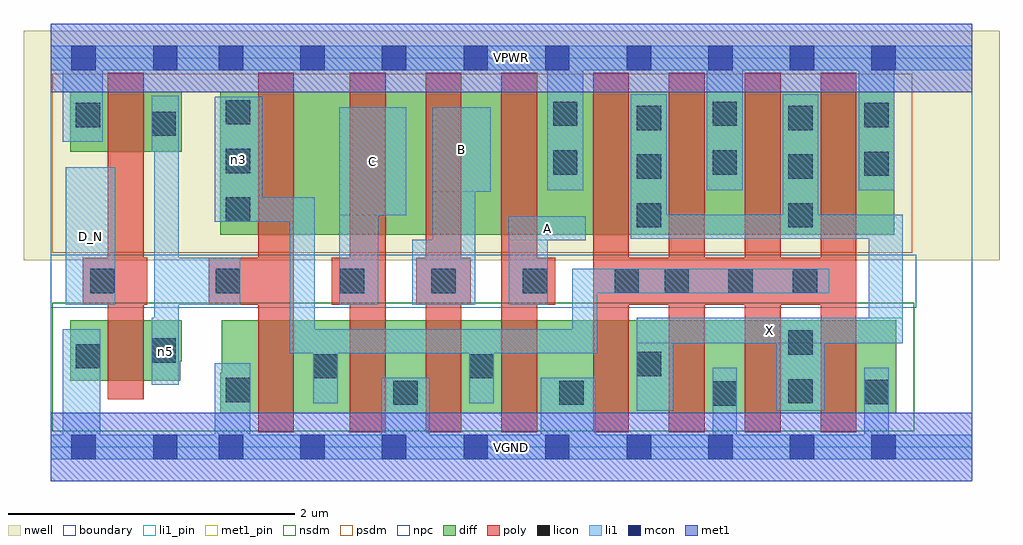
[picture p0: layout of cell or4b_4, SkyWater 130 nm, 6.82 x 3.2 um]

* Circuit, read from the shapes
.subckt or4b_4 A B C D_N VGND VPWR X n3 n5
XM1 n5 D_N VGND VSUBS sky130_fd_pr__nfet_01v8 w=0.42 l=0.25
XM2 n3 n5 VGND VSUBS sky130_fd_pr__nfet_01v8 w=0.65 l=0.25
XM3 VGND C n3 VSUBS sky130_fd_pr__nfet_01v8 w=0.65 l=0.25
XM4 n3 B VGND VSUBS sky130_fd_pr__nfet_01v8 w=0.65 l=0.25
XM5 VGND A n3 VSUBS sky130_fd_pr__nfet_01v8 w=0.65 l=0.25
XM6 X n3 VGND VSUBS sky130_fd_pr__nfet_01v8 w=0.65 l=0.25 m=4
XM7 n5 D_N VPWR n1 sky130_fd_pr__pfet_01v8 w=0.42 l=0.25
XM8 n2 n5 n3 n1 sky130_fd_pr__pfet_01v8 w=1 l=0.25
XM9 n4 C n2 n1 sky130_fd_pr__pfet_01v8 w=1 l=0.25
XM10 n6 B n4 n1 sky130_fd_pr__pfet_01v8 w=1 l=0.25
XM11 VPWR A n6 n1 sky130_fd_pr__pfet_01v8 w=1 l=0.25
XM12 X n3 VPWR n1 sky130_fd_pr__pfet_01v8 w=1 l=0.25 m=4
.ends

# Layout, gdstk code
import gdstk
lib = gdstk.Library(unit=1e-6, precision=1e-09)
def R(c, l, rs):  # rectangles x0, y0, x1, y1
    for r in rs: c.add(gdstk.rectangle(r[:2], r[2:], *l))
def A(c, l, x, y, w, h, nx, ny, dx, dy):  # array of equal rectangles
    R(c, l, [(x+i*dx, y+j*dy, x+i*dx+w, y+j*dy+h) for i in range(nx) for j in range(ny)])
nwell = (64, 20)
diff = (65, 20)
poly = (66, 20)
licon = (66, 44)
li1_pin = (67, 16)
li1 = (67, 20)
mcon = (67, 44)
met1_pin = (68, 16)
met1 = (68, 20)
nsdm = (93, 44)
psdm = (94, 20)
npc = (95, 20)
boundary = (235, 4)

or4b_4 = lib.new_cell('or4b_4')
R(or4b_4, nwell, [(-0.19,1.305,6.63,2.91), (0,1.305,6.44,2.91)])
R(or4b_4, diff, [(1.185,0.235,5.91,0.52), (1.195,0.235,5.91,0.885), (0.135,0.465,0.905,0.885), (0.135,0.6,0.915,0.885), (1.185,1.485,5.895,2.485), (0.135,2.065,0.915,2.485)])
A(or4b_4, poly, 2.09, 0.105, 0.25, 2.51, 3, 1, 0.53, 0)
A(or4b_4, poly, 3.79, 0.105, 0.25, 2.51, 4, 1, 0.53, 0)
R(or4b_4, poly, [(1.45,0.105,1.7,2.615), (0.4,0.335,0.65,2.615), (0.225,0.995,0.675,1.325), (1.105,0.995,1.7,1.325), (1.965,0.995,2.34,1.325), (2.555,0.995,2.935,1.325), (3.15,0.995,3.525,1.325), (3.79,0.995,5.63,1.325)])
A(or4b_4, licon, 2.02, 1.075, 0.17, 0.17, 4, 1, 0.64, 0)
A(or4b_4, licon, 4.095, 1.535, 0.17, 0.17, 1, 3, 0, 0.34)
A(or4b_4, licon, 5.155, 1.535, 0.17, 0.17, 1, 3, 0, 0.34)
A(or4b_4, licon, 1.225, 1.575, 0.17, 0.17, 1, 3, 0, 0.34)
R(or4b_4, licon, [(4.625,0.29,4.795,0.46), (2.395,0.295,2.565,0.465), (3.555,0.295,3.725,0.465), (5.685,0.3,5.855,0.47), (5.155,0.305,5.325,0.475), (1.225,0.315,1.395,0.485), (1.835,0.48,2.005,0.65), (2.925,0.48,3.095,0.65), (4.095,0.495,4.265,0.665), (0.175,0.55,0.345,0.72), (0.705,0.59,0.875,0.76), (5.155,0.645,5.325,0.815), (0.275,1.075,0.445,1.245), (1.155,1.075,1.325,1.245), (4.29,1.075,4.46,1.245), (4.735,1.075,4.905,1.245), (5.185,1.075,5.355,1.245), (5.685,1.895,5.855,2.065), (3.51,1.905,3.68,2.075), (4.625,1.905,4.795,2.075), (0.705,2.175,0.875,2.345), (0.175,2.235,0.345,2.405), (5.685,2.235,5.855,2.405), (3.51,2.245,3.68,2.415), (4.625,2.245,4.795,2.415)])
R(or4b_4, li1_pin, [(4.095,0.725,5.955,0.905), (0.105,0.995,0.45,1.955), (3.2,1.445,3.74,1.615), (2.015,1.62,2.485,2.375), (2.67,1.785,3.075,2.375)])
R(or4b_4, li1, [(0,-0.085,6.44,0.085), (0.085,-0.085,0.345,0.825), (1.145,-0.085,1.395,0.585), (2.31,-0.085,2.65,0.485), (3.425,-0.085,3.81,0.485), (4.625,-0.085,4.795,0.555), (5.685,-0.085,5.855,0.555), (4.095,0.255,4.35,0.905), (5.07,0.255,5.41,0.905), (1.835,0.305,2.005,0.825), (2.925,0.305,3.095,0.825), (0.705,0.435,0.895,0.905), (0.725,0.435,0.895,2.455), (1.67,0.655,3.82,0.825), (1.67,0.655,1.845,1.745), (3.645,0.655,3.82,1.245), (4.095,0.725,5.955,0.905), (5.715,0.725,5.955,1.625), (0.105,0.995,0.45,1.955), (0.725,0.995,1.325,1.325), (2.015,0.995,2.29,2.375), (2.525,0.995,2.965,1.45), (2.67,0.995,2.965,2.375), (3.2,0.995,3.475,1.615), (3.645,1.075,5.44,1.245), (3.2,1.445,3.74,1.615), (4.055,1.455,5.955,1.625), (4.055,1.455,4.305,2.465), (5.115,1.455,5.365,2.465), (1.145,1.575,1.48,2.45), (1.145,1.575,1.845,1.745), (2.015,1.62,2.485,2.375), (2.67,1.785,3.075,2.375), (3.47,1.795,3.72,2.805), (4.585,1.795,4.835,2.805), (5.645,1.795,5.895,2.805), (0.705,2.065,0.895,2.455), (0.085,2.135,0.365,2.805), (0,2.635,6.44,2.805)])
A(or4b_4, mcon, 1.175, -0.085, 0.17, 0.17, 9, 2, 0.57, 2.72)
R(or4b_4, mcon, [(0.145,-0.085,0.315,0.085), (0.715,-0.085,0.885,0.085), (0.145,2.635,0.315,2.805), (0.715,2.635,0.885,2.805)])
R(or4b_4, met1_pin, [(0,-0.24,6.44,0.24), (0,2.48,6.44,2.96)])
R(or4b_4, met1, [(0,-0.24,6.44,0.24), (0,2.48,6.44,2.96)])
R(or4b_4, nsdm, [(0.01,0.11,6.035,1.01)])
R(or4b_4, psdm, [(0.01,1.36,6.02,2.61)])
R(or4b_4, npc, [(0,0.975,6.05,1.345)])
R(or4b_4, boundary, [(0,0,6.44,2.72)])
or4b_4.add(gdstk.Label('A', (3.47,1.53), layer=67, texttype=5))
or4b_4.add(gdstk.Label('B', (2.872,2.08), layer=67, texttype=5))
or4b_4.add(gdstk.Label('C', (2.25,1.997), layer=67, texttype=5))
or4b_4.add(gdstk.Label('D_N', (0.277,1.475), layer=67, texttype=5))
or4b_4.add(gdstk.Label('X', (5.025,0.815), layer=67, texttype=5))
or4b_4.add(gdstk.Label('n3', (1.312,2.012), layer=67, texttype=5))
or4b_4.add(gdstk.Label('n5', (0.8,0.67), layer=67, texttype=5))
or4b_4.add(gdstk.Label('VPWR', (3.22,2.72), layer=68, texttype=5))
or4b_4.add(gdstk.Label('VGND', (3.22,0), layer=68, texttype=5))
or4b_4.add(gdstk.Label('A', (3.47,1.53), layer=67, texttype=16))
or4b_4.add(gdstk.Label('B', (2.872,2.08), layer=67, texttype=16))
or4b_4.add(gdstk.Label('C', (2.25,1.997), layer=67, texttype=16))
or4b_4.add(gdstk.Label('D_N', (0.277,1.475), layer=67, texttype=16))
or4b_4.add(gdstk.Label('X', (5.025,0.815), layer=67, texttype=16))
or4b_4.add(gdstk.Label('VPWR', (3.22,2.72), layer=68, texttype=16))
or4b_4.add(gdstk.Label('VGND', (3.22,0), layer=68, texttype=16))

lib.write_gds('or4b_4.gds')
